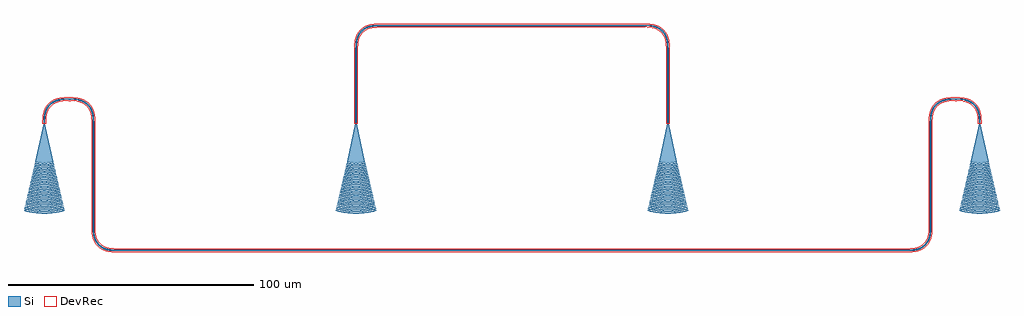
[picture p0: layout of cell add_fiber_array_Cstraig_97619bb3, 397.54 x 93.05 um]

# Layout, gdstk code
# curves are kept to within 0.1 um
from math import pi, radians
import gdstk
lib = gdstk.Library(unit=1e-6, precision=1e-09)
def R(c, l, rs):  # rectangles x0, y0, x1, y1
    for r in rs: c.add(gdstk.rectangle(r[:2], r[2:], *l))
def P(c, l, *ps):  # polygons
    for p in ps: c.add(gdstk.Polygon(p, *l))
Si = (1, 0)
DevRec = (68, 0)

straight_l10_csstrip_wno = lib.new_cell('straight_L10_CSstrip_WNone_N2')
R(straight_l10_csstrip_wno, Si, [(0,-0.25,10,0.25)])
R(straight_l10_csstrip_wno, DevRec, [(0,-0.75,10,0.75)])

grating_coupler_ellipti_ = lib.new_cell('grating_coupler_ellipti_2f8caedf')
P(grating_coupler_ellipti_, Si, [(15.522,-3.591),(0,-0.25),(0,0.25),(15.522,3.591),(15.896,1.691),(16,0),(15.896,-1.691)],
  [(16.008,-3.811),(15.882,-3.669),(16.107,-2.704),(16.264,-1.728),(16.37,0),(16.264,1.728),(16.107,2.704),(15.882,3.669),(16.008,3.811),(16.186,3.749),(16.463,2.516),(16.629,1.263),(16.686,0),(16.629,-1.263),(16.463,-2.516),(16.186,-3.749)],
  [(16.672,-3.965),(16.547,-3.823),(16.78,-2.818),(16.944,-1.8),(17.054,0),(16.944,1.8),(16.78,2.818),(16.547,3.823),(16.672,3.965),(16.851,3.903),(17.138,2.62),(17.312,1.315),(17.37,0),(17.312,-1.315),(17.138,-2.62),(16.851,-3.903)],
  [(17.336,-4.119),(17.211,-3.977),(17.454,-2.931),(17.625,-1.872),(17.739,0),(17.625,1.872),(17.454,2.931),(17.211,3.977),(17.336,4.119),(17.515,4.057),(17.814,2.723),(17.995,1.367),(18.055,0),(17.995,-1.367),(17.814,-2.723),(17.515,-4.057)],
  [(18.002,-4.273),(17.876,-4.131),(18.128,-3.045),(18.305,-1.945),(18.424,0),(18.305,1.945),(18.128,3.045),(17.876,4.131),(18.002,4.273),(18.18,4.211),(18.49,2.826),(18.678,1.418),(18.74,0),(18.678,-1.418),(18.49,-2.826),(18.18,-4.211)],
  [(18.665,-4.426),(18.54,-4.284),(18.802,-3.158),(18.986,-2.017),(19.087,-0.866),(19.109,0),(19.087,0.866),(18.986,2.017),(18.802,3.158),(18.54,4.284),(18.665,4.426),(18.844,4.364),(19.216,2.639),(19.36,1.47),(19.425,0),(19.36,-1.47),(19.216,-2.639),(18.844,-4.364)],
  [(19.331,-4.58),(19.205,-4.438),(19.476,-3.271),(19.666,-2.089),(19.772,-0.898),(19.794,0),(19.772,0.898),(19.666,2.089),(19.476,3.271),(19.205,4.438),(19.331,4.58),(19.509,4.518),(19.842,3.032),(20.043,1.522),(20.11,0),(20.043,-1.522),(19.842,-3.032),(19.509,-4.518)],
  [(19.996,-4.734),(19.87,-4.592),(20.15,-3.384),(20.347,-2.162),(20.456,-0.929),(20.479,0),(20.456,0.929),(20.347,2.162),(20.15,3.384),(19.87,4.592),(19.996,4.734),(20.174,4.672),(20.571,2.825),(20.726,1.574),(20.795,0),(20.726,-1.574),(20.571,-2.825),(20.174,-4.672)],
  [(20.659,-4.888),(20.534,-4.746),(20.76,-3.811),(20.985,-2.551),(21.12,-1.279),(21.164,0),(21.12,1.279),(20.985,2.551),(20.76,3.811),(20.534,4.746),(20.659,4.888),(20.838,4.826),(21.249,2.917),(21.434,1.301),(21.48,0),(21.434,-1.301),(21.249,-2.917),(20.838,-4.826)],
  [(21.324,-5.041),(21.199,-4.899),(21.498,-3.611),(21.708,-2.307),(21.804,-1.32),(21.849,0),(21.804,1.32),(21.708,2.307),(21.498,3.611),(21.199,4.899),(21.324,5.041),(21.503,4.979),(21.926,3.01),(22.118,1.342),(22.165,0),(22.118,-1.342),(21.926,-3.01),(21.503,-4.979)],
  [(21.988,-5.195),(21.863,-5.053),(22.172,-3.725),(22.388,-2.379),(22.508,-1.022),(22.534,0),(22.508,1.022),(22.388,2.379),(22.172,3.725),(21.863,5.053),(21.988,5.195),(22.167,5.133),(22.604,3.103),(22.774,1.729),(22.85,0),(22.774,-1.729),(22.604,-3.103),(22.167,-5.133)],
  [(22.654,-5.349),(22.528,-5.207),(22.846,-3.838),(23.069,-2.452),(23.171,-1.403),(23.219,0),(23.171,1.403),(23.069,2.452),(22.846,3.838),(22.528,5.207),(22.654,5.349),(22.832,5.287),(23.281,3.196),(23.457,1.781),(23.535,0),(23.457,-1.781),(23.281,-3.196),(22.832,-5.287)],
  [(23.317,-5.502),(23.192,-5.36),(23.52,-3.951),(23.749,-2.524),(23.877,-1.084),(23.904,0),(23.877,1.084),(23.749,2.524),(23.52,3.951),(23.192,5.36),(23.317,5.502),(23.496,5.44),(23.959,3.289),(24.139,1.833),(24.22,0),(24.139,-1.833),(23.959,-3.289),(23.496,-5.44)],
  [(23.982,-5.656),(23.857,-5.514),(24.194,-4.065),(24.43,-2.596),(24.561,-1.115),(24.589,0),(24.561,1.115),(24.43,2.596),(24.194,4.065),(23.857,5.514),(23.982,5.656),(24.161,5.594),(24.637,3.382),(24.852,1.508),(24.905,0),(24.852,-1.508),(24.637,-3.382),(24.161,-5.594)],
  [(24.646,-5.81),(24.521,-5.668),(24.792,-4.552),(25.06,-3.047),(25.221,-1.527),(25.274,0),(25.221,1.527),(25.06,3.047),(24.792,4.552),(24.521,5.668),(24.646,5.81),(24.825,5.748),(25.1,4.618),(25.314,3.475),(25.505,1.936),(25.59,0),(25.505,-1.936),(25.314,-3.475),(25.1,-4.618),(24.825,-5.748)],
  [(25.311,-5.964),(25.186,-5.822),(25.542,-4.291),(25.791,-2.741),(25.905,-1.569),(25.959,0),(25.905,1.569),(25.791,2.741),(25.542,4.291),(25.186,5.822),(25.311,5.964),(25.49,5.902),(25.772,4.742),(25.992,3.568),(26.219,1.591),(26.275,0),(26.219,-1.591),(25.992,-3.568),(25.772,-4.742),(25.49,-5.902)],
  [(25.977,-6.117),(25.851,-5.975),(26.216,-4.405),(26.472,-2.813),(26.613,-1.208),(26.644,0),(26.613,1.208),(26.472,2.813),(26.216,4.405),(25.851,5.975),(25.977,6.117),(26.155,6.055),(26.443,4.865),(26.669,3.661),(26.87,2.04),(26.96,0),(26.87,-2.04),(26.669,-3.661),(26.443,-4.865),(26.155,-6.055)],
  [(26.641,-6.271),(26.515,-6.129),(26.89,-4.518),(27.152,-2.885),(27.298,-1.239),(27.329,0),(27.298,1.239),(27.152,2.885),(26.89,4.518),(26.515,6.129),(26.641,6.271),(26.819,6.209),(27.115,4.989),(27.347,3.754),(27.553,2.091),(27.645,0),(27.553,-2.091),(27.347,-3.754),(27.115,-4.989),(26.819,-6.209)],
  [(27.306,-6.425),(27.18,-6.283),(27.643,-4.214),(27.88,-2.537),(27.982,-1.271),(28.014,0),(27.982,1.271),(27.88,2.537),(27.643,4.214),(27.18,6.283),(27.306,6.425),(27.484,6.363),(27.787,5.112),(28.025,3.847),(28.236,2.143),(28.33,0),(28.236,-2.143),(28.025,-3.847),(27.787,-5.112),(27.484,-6.363)],
  [(27.969,-6.579),(27.844,-6.437),(28.238,-4.745),(28.562,-2.599),(28.666,-1.302),(28.699,0),(28.666,1.302),(28.562,2.599),(28.238,4.745),(27.844,6.437),(27.969,6.579),(28.148,6.517),(28.459,5.236),(28.701,3.94),(28.953,1.757),(29.015,0),(28.953,-1.757),(28.701,-3.94),(28.459,-5.236),(28.148,-6.517)],
  [(28.634,-6.732),(28.509,-6.59),(28.994,-4.42),(29.244,-2.661),(29.35,-1.333),(29.384,0),(29.35,1.333),(29.244,2.661),(28.994,4.42),(28.509,6.59),(28.634,6.732),(28.813,6.67),(29.131,5.359),(29.38,4.033),(29.601,2.247),(29.7,0),(29.601,-2.247),(29.38,-4.033),(29.131,-5.359),(28.813,-6.67)],
  [(29.298,-6.886),(29.173,-6.744),(29.67,-4.524),(29.925,-2.723),(30.034,-1.364),(30.069,0),(30.034,1.364),(29.925,2.723),(29.67,4.524),(29.173,6.744),(29.298,6.886),(29.477,6.824),(29.803,5.483),(30.058,4.125),(30.284,2.299),(30.385,0),(30.284,-2.299),(30.058,-4.125),(29.803,-5.483),(29.477,-6.824)],
  [(29.964,-7.04),(29.838,-6.898),(30.346,-4.627),(30.607,-2.786),(30.718,-1.395),(30.754,0),(30.718,1.395),(30.607,2.786),(30.346,4.627),(29.838,6.898),(29.964,7.04),(30.142,6.978),(30.475,5.606),(30.735,4.218),(31.004,1.881),(31.07,0),(31.004,-1.881),(30.735,-4.218),(30.475,-5.606),(30.142,-6.978)],
  [(30.627,-7.194),(30.502,-7.052),(31.022,-4.73),(31.289,-2.847),(31.403,-1.426),(31.439,0),(31.403,1.426),(31.289,2.847),(31.022,4.73),(30.502,7.052),(30.627,7.194),(30.806,7.132),(31.147,5.73),(31.413,4.311),(31.649,2.402),(31.755,0),(31.649,-2.402),(31.413,-4.311),(31.147,-5.73),(30.806,-7.132)],
  [(31.292,-7.347),(31.167,-7.205),(31.698,-4.833),(31.971,-2.909),(32.087,-1.457),(32.124,0),(32.087,1.457),(31.971,2.909),(31.698,4.833),(31.167,7.205),(31.292,7.347),(31.471,7.285),(31.819,5.853),(32.09,4.404),(32.371,1.964),(32.44,0),(32.371,-1.964),(32.09,-4.404),(31.819,-5.853),(31.471,-7.285)],
  [(31.957,-7.501),(31.832,-7.359),(32.282,-5.425),(32.596,-3.465),(32.771,-1.488),(32.809,0),(32.771,1.488),(32.596,3.465),(32.282,5.425),(31.832,7.359),(31.957,7.501),(32.136,7.439),(32.49,5.977),(32.768,4.497),(33.015,2.506),(33.125,0),(33.015,-2.506),(32.768,-4.497),(32.49,-5.977),(32.136,-7.439)],
  [(32.621,-7.655),(32.496,-7.513),(32.956,-5.538),(33.277,-3.537),(33.424,-2.025),(33.494,0),(33.424,2.025),(33.277,3.537),(32.956,5.538),(32.496,7.513),(32.621,7.655),(32.8,7.593),(33.162,6.1),(33.446,4.59),(33.738,2.047),(33.81,0),(33.738,-2.047),(33.446,-4.59),(33.162,-6.1),(32.8,-7.593)],
  [(33.287,-7.809),(33.161,-7.667),(33.726,-5.143),(34.016,-3.095),(34.139,-1.55),(34.179,0),(34.139,1.55),(34.016,3.095),(33.726,5.143),(33.161,7.667),(33.287,7.809),(33.465,7.747),(33.834,6.224),(34.123,4.683),(34.38,2.609),(34.495,0),(34.38,-2.609),(34.123,-4.683),(33.834,-6.224),(33.465,-7.747)],
  [(33.95,-7.962),(33.825,-7.82),(34.304,-5.765),(34.638,-3.682),(34.791,-2.107),(34.864,0),(34.791,2.107),(34.638,3.682),(34.304,5.765),(33.825,7.82),(33.95,7.962),(34.129,7.9),(34.506,6.347),(34.801,4.776),(35.063,2.661),(35.18,0),(35.063,-2.661),(34.801,-4.776),(34.506,-6.347),(34.129,-7.9)],
  [(34.616,-8.116),(34.49,-7.974),(34.978,-5.878),(35.318,-3.755),(35.508,-1.613),(35.549,0),(35.508,1.613),(35.318,3.755),(34.978,5.878),(34.49,7.974),(34.616,8.116),(34.794,8.054),(35.178,6.471),(35.478,4.869),(35.745,2.713),(35.865,0),(35.745,-2.713),(35.478,-4.869),(35.178,-6.471),(34.794,-8.054)],
  [(35.279,-8.27),(35.154,-8.128),(35.652,-5.992),(35.999,-3.827),(36.192,-1.644),(36.234,0),(36.192,1.644),(35.999,3.827),(35.652,5.992),(35.154,8.128),(35.279,8.27),(35.458,8.208),(35.85,6.594),(36.156,4.962),(36.472,2.212),(36.55,0),(36.472,-2.212),(36.156,-4.962),(35.85,-6.594),(35.458,-8.208)])

bend_euler_rnone_a90_p0_ = lib.new_cell('bend_euler_RNone_A90_P0_fbfa4d8c')
P(bend_euler_rnone_a90_p0_, Si, [(0,-0.25),(0,0.25),(2.881,0.353),(3.952,0.52),(4.99,0.806),(6.431,1.505),(7.575,2.425),(8.495,3.569),(9.194,5.01),(9.48,6.048),(9.647,7.119),(9.75,10),(10.25,10),(10.158,7.205),(9.797,5.254),(9.457,4.312),(9.066,3.545),(8.5,2.715),(7.928,2.072),(7.285,1.5),(6.455,0.934),(5.688,0.543),(4.746,0.203),(2.795,-0.158)])
P(bend_euler_rnone_a90_p0_, DevRec, [(0,-0.75),(0,0.75),(2.697,0.837),(4.466,1.163),(5.95,1.797),(7.221,2.779),(8.203,4.05),(8.837,5.534),(9.163,7.303),(9.25,10),(10.75,10),(10.656,7.156),(10.277,5.114),(9.497,3.292),(8.282,1.718),(6.708,0.503),(4.886,-0.277),(2.844,-0.656)])

straight_l48p5_csstrip_w = lib.new_cell('straight_L48p5_CSstrip_W0p5_N2')
R(straight_l48p5_csstrip_w, Si, [(0,-0.25,48.5,0.25)])
R(straight_l48p5_csstrip_w, DevRec, [(0,-0.75,48.5,0.75)])

straight_l30_csstrip_w0p = lib.new_cell('straight_L30_CSstrip_W0p5_N2')
R(straight_l30_csstrip_w0p, Si, [(0,-0.25,30,0.25)])
R(straight_l30_csstrip_w0p, DevRec, [(0,-0.75,30,0.75)])

bend_euler_r10_a90_p0p5_ = lib.new_cell('bend_euler_R10_A90_P0p5_17151b03')
P(bend_euler_r10_a90_p0p5_, Si, [(0,-0.25),(0,0.25),(2.881,0.353),(3.952,0.52),(4.99,0.806),(6.431,1.505),(7.575,2.425),(8.495,3.569),(9.194,5.01),(9.48,6.048),(9.647,7.119),(9.75,10),(10.25,10),(10.158,7.205),(9.797,5.254),(9.457,4.312),(9.066,3.545),(8.5,2.715),(7.928,2.072),(7.285,1.5),(6.455,0.934),(5.688,0.543),(4.746,0.203),(2.795,-0.158)])
P(bend_euler_r10_a90_p0p5_, DevRec, [(0,-0.75),(0,0.75),(2.697,0.837),(4.466,1.163),(5.95,1.797),(7.221,2.779),(8.203,4.05),(8.837,5.534),(9.163,7.303),(9.25,10),(10.75,10),(10.656,7.156),(10.277,5.114),(9.497,3.292),(8.282,1.718),(6.708,0.503),(4.886,-0.277),(2.844,-0.656)])

straight_l41p5500000000_ = lib.new_cell('straight_L41p5500000000_6c27f8ec')
R(straight_l41p5500000000_, Si, [(0,-0.25,41.55,0.25)])
R(straight_l41p5500000000_, DevRec, [(0,-0.75,41.55,0.75)])

straight_l321_csstrip_w0 = lib.new_cell('straight_L321_CSstrip_W0p5_N2')
R(straight_l321_csstrip_w0, Si, [(0,-0.25,321,0.25)])
R(straight_l321_csstrip_w0, DevRec, [(0,-0.75,321,0.75)])

add_fiber_array_cstraig_ = lib.new_cell('add_fiber_array_Cstraig_97619bb3')
add_fiber_array_cstraig_.add(gdstk.Reference(straight_l10_csstrip_wno, (0,0)))
add_fiber_array_cstraig_.add(gdstk.Reference(grating_coupler_ellipti_, (-58.5,-40), rotation=3*pi/2))
add_fiber_array_cstraig_.add(gdstk.Reference(grating_coupler_ellipti_, (68.5,-40), rotation=3*pi/2))
add_fiber_array_cstraig_.add(gdstk.Reference(grating_coupler_ellipti_, (-185.5,-40), rotation=3*pi/2))
add_fiber_array_cstraig_.add(gdstk.Reference(grating_coupler_ellipti_, (195.5,-40), rotation=3*pi/2))
add_fiber_array_cstraig_.add(gdstk.Reference(bend_euler_rnone_a90_p0_, (-58.5,-10), rotation=pi/2, x_reflection=True))
add_fiber_array_cstraig_.add(gdstk.Reference(straight_l48p5_csstrip_w, (0,0), rotation=pi))
add_fiber_array_cstraig_.add(gdstk.Reference(straight_l30_csstrip_w0p, (-58.5,-10), rotation=3*pi/2))
add_fiber_array_cstraig_.add(gdstk.Reference(bend_euler_rnone_a90_p0_, (68.5,-10), rotation=pi/2))
add_fiber_array_cstraig_.add(gdstk.Reference(straight_l48p5_csstrip_w, (10,0)))
add_fiber_array_cstraig_.add(gdstk.Reference(straight_l30_csstrip_w0p, (68.5,-10), rotation=3*pi/2))
add_fiber_array_cstraig_.add(gdstk.Reference(bend_euler_r10_a90_p0p5_, (-175.5,-30), rotation=pi))
add_fiber_array_cstraig_.add(gdstk.Reference(bend_euler_r10_a90_p0p5_, (-165.5,-40), rotation=pi/2))
add_fiber_array_cstraig_.add(gdstk.Reference(bend_euler_r10_a90_p0p5_, (-155.5,-91.55), rotation=pi, x_reflection=True))
add_fiber_array_cstraig_.add(gdstk.Reference(straight_l41p5500000000_, (-165.5,-40), rotation=3*pi/2))
add_fiber_array_cstraig_.add(gdstk.Reference(bend_euler_r10_a90_p0p5_, (175.5,-81.55), rotation=3*pi/2, x_reflection=True))
add_fiber_array_cstraig_.add(gdstk.Reference(straight_l321_csstrip_w0, (-155.5,-91.55)))
add_fiber_array_cstraig_.add(gdstk.Reference(bend_euler_r10_a90_p0p5_, (185.5,-30), rotation=pi))
add_fiber_array_cstraig_.add(gdstk.Reference(straight_l41p5500000000_, (175.5,-81.55), rotation=pi/2))
add_fiber_array_cstraig_.add(gdstk.Reference(bend_euler_r10_a90_p0p5_, (195.5,-40), rotation=pi/2))

lib.write_gds('add_fiber_array_Cstraig_97619bb3.gds')
